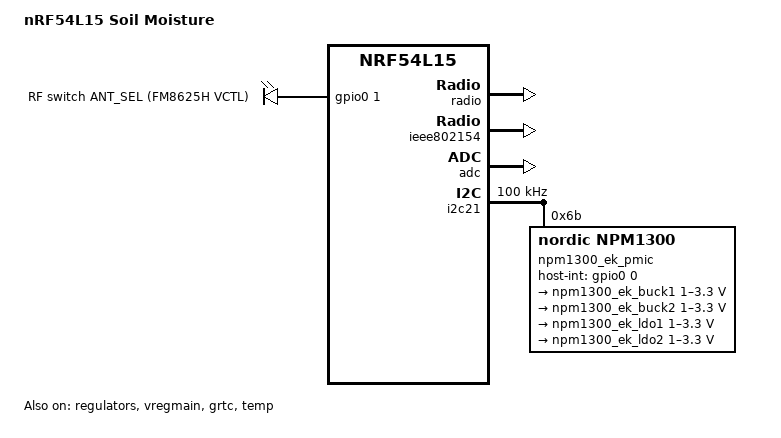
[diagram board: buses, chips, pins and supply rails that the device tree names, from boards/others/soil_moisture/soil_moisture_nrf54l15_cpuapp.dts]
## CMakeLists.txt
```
cmake_minimum_required(VERSION 3.20.0)

# Absolute BOARD_ROOT for non-sysbuild builds; sysbuild uses sysbuild/CMakeLists.txt
list(APPEND BOARD_ROOT ${CMAKE_CURRENT_SOURCE_DIR})

find_package(Zephyr REQUIRED HINTS $ENV{ZEPHYR_BASE})

project(soil_moisture_bringup)

target_sources(app PRIVATE
	src/main.c
	src/fuel_gauge.c
)
```

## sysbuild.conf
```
# Default sysbuild settings for nRF54L15 application image
```

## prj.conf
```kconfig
CONFIG_GPIO=y
CONFIG_I2C=y
CONFIG_MFD=y
CONFIG_MFD_NPM13XX=y
CONFIG_REGULATOR=y
CONFIG_REGULATOR_NPM13XX=y
CONFIG_SENSOR=y
CONFIG_NPM13XX_CHARGER=y

CONFIG_NRF_FUEL_GAUGE=y
CONFIG_NRF_FUEL_GAUGE_VARIANT_SECONDARY_CELL=y
CONFIG_REQUIRES_FLOAT_PRINTF=y
CONFIG_MAIN_STACK_SIZE=2048
CONFIG_CBPRINTF_FP_SUPPORT=y

CONFIG_LOG=y
CONFIG_USE_SEGGER_RTT=y
CONFIG_LOG_BACKEND_RTT=y
CONFIG_RTT_CONSOLE=y
CONFIG_UART_CONSOLE=n
CONFIG_CONSOLE=y
CONFIG_SERIAL=y

CONFIG_BT=n
```

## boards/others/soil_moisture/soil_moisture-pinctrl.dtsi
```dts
&pinctrl {
	/omit-if-no-ref/ i2c21_default: i2c21_default {
		group1 {
			psels = <NRF_PSEL(TWIM_SCL, 1, 3)>,
				<NRF_PSEL(TWIM_SDA, 1, 4)>;
		};
	};

	/omit-if-no-ref/ i2c21_sleep: i2c21_sleep {
		group1 {
			psels = <NRF_PSEL(TWIM_SCL, 1, 3)>,
				<NRF_PSEL(TWIM_SDA, 1, 4)>;
			low-power-enable;
		};
	};
};
```

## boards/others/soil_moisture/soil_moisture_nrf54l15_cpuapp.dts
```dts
/dts-v1/;

#include <nordic/nrf54l15_cpuapp.dtsi>
#include <dt-bindings/regulator/npm13xx.h>
#include "soil_moisture-pinctrl.dtsi"

/ {
	model = "nRF54L15 Soil Moisture";
	compatible = "others,soil-moisture-nrf54l15-cpuapp";

	chosen {
		zephyr,code-partition = &slot0_partition;
		zephyr,sram = &cpuapp_sram;
		zephyr,flash-controller = &rram_controller;
		zephyr,flash = &cpuapp_rram;
		zephyr,console = &rtt0;
		zephyr,shell-uart = &rtt0;
		zephyr,bt-mon-uart = &rtt0;
		zephyr,bt-c2h-uart = &rtt0;
		zephyr,ieee802154 = &ieee802154;
	};

	aliases {
		ant-sel = &ant_sel;
		watchdog0 = &wdt31;
	};

	antennas {
		compatible = "gpio-leds";

		ant_sel: ant_sel {
			gpios = <&gpio0 1 GPIO_ACTIVE_HIGH>;
			label = "RF switch ANT_SEL (FM8625H VCTL)";
		};
	};

	rtt0: rtt_uart0 {
		compatible = "segger,rtt-uart";
		status = "okay";
	};
};

#include <vendor/nordic/nrf54l15_cpuapp_partition.dtsi>

&cpuapp_sram {
	status = "okay";
};

&lfxo {
	load-capacitors = "internal";
	load-capacitance-femtofarad = <17000>;
};

&hfxo {
	load-capacitors = "internal";
	load-capacitance-femtofarad = <15000>;
};

&regulators {
	status = "okay";
};

&vregmain {
	status = "okay";
	regulator-initial-mode = <NRF5X_REG_MODE_DCDC>;
};

&grtc {
	owned-channels = <0 1 2 3 4 5 6 7 8 9 10 11>;
	child-owned-channels = <3 4 7 8 9 10 11>;
	status = "okay";
};

&gpio0 {
	status = "okay";
};

&gpio1 {
	status = "okay";
};

&gpio2 {
	status = "okay";
};

&gpiote20 {
	status = "okay";
};

&gpiote30 {
	status = "okay";
};

&radio {
	status = "okay";
};

&ieee802154 {
	status = "okay";
};

&temp {
	status = "okay";
};

&clock {
	status = "okay";
};

&adc {
	status = "okay";
};

&uart20 {
	status = "disabled";
};

&uart30 {
	status = "disabled";
};

&i2c21 {
	compatible = "nordic,nrf-twim";
	status = "okay";
	clock-frequency = <I2C_BITRATE_STANDARD>;
	pinctrl-0 = <&i2c21_default>;
	pinctrl-1 = <&i2c21_sleep>;
	pinctrl-names = "default", "sleep";

	npm1300_ek_pmic: pmic@6b {
		compatible = "nordic,npm1300";
		reg = <0x6b>;
		host-int-gpios = <&gpio0 0 GPIO_ACTIVE_HIGH>;
		pmic-int-pin = <1>;

		npm1300_ek_gpio: gpio-controller {
			compatible = "nordic,npm1300-gpio";
			gpio-controller;
			#gpio-cells = <2>;
			ngpios = <5>;
		};

		npm1300_ek_regulators: regulators {
			compatible = "nordic,npm1300-regulator";

			npm1300_ek_buck1: BUCK1 {
				regulator-min-microvolt = <1000000>;
				regulator-max-microvolt = <3300000>;
				regulator-init-microvolt = <1800000>;
			};

			npm1300_ek_buck2: BUCK2 {
				regulator-min-microvolt = <1000000>;
				regulator-max-microvolt = <3300000>;
				regulator-init-microvolt = <3000000>;
				regulator-always-on;
			};

			npm1300_ek_ldo1: LDO1 {
				regulator-min-microvolt = <1000000>;
				regulator-max-microvolt = <3300000>;
				status = "disabled";
			};

			npm1300_ek_ldo2: LDO2 {
				regulator-min-microvolt = <1000000>;
				regulator-max-microvolt = <3300000>;
				status = "disabled";
			};
		};

		npm1300_ek_charger: charger {
			compatible = "nordic,npm1300-charger";
			term-microvolt = <4150000>;
			term-warm-microvolt = <4000000>;
			current-microamp = <150000>;
			dischg-limit-microamp = <1000000>;
			vbus-limit-microamp = <500000>;
			thermistor-ohms = <10000>;
			thermistor-beta = <3380>;
			charging-enable;
		};

		npm1300_ek_leds: leds {
			compatible = "nordic,npm1300-led";
			nordic,led0-mode = "error";
			nordic,led1-mode = "charging";
			nordic,led2-mode = "host";
		};
	};
};
```

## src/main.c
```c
#include <zephyr/kernel.h>
#include <zephyr/device.h>
#include <zephyr/drivers/gpio.h>
#include <zephyr/drivers/mfd/npm13xx.h>
#include <zephyr/drivers/sensor.h>
#include <zephyr/logging/log.h>

#include "fuel_gauge.h"

LOG_MODULE_REGISTER(main, LOG_LEVEL_INF);

#define SLEEP_TIME_MS 1000

#define NPM13XX_DEVICE(dev) DEVICE_DT_GET(DT_NODELABEL(npm1300_ek_ ## dev))

static const struct device *pmic = NPM13XX_DEVICE(pmic);
static const struct device *charger = NPM13XX_DEVICE(charger);
static const struct gpio_dt_spec ant_sel = GPIO_DT_SPEC_GET(DT_ALIAS(ant_sel), gpios);

static volatile bool vbus_connected;

static void event_callback(const struct device *dev, struct gpio_callback *cb, uint32_t pins)
{
	ARG_UNUSED(dev);
	ARG_UNUSED(cb);

	if (pins & BIT(NPM13XX_EVENT_VBUS_DETECTED)) {
		LOG_INF("VBUS connected (USB or solar input)");
		vbus_connected = true;
	}

	if (pins & BIT(NPM13XX_EVENT_VBUS_REMOVED)) {
		LOG_INF("VBUS removed");
		vbus_connected = false;
	}
}

static int ant_sel_init(void)
{
	int err;

	if (!gpio_is_ready_dt(&ant_sel)) {
		LOG_ERR("ANT_SEL GPIO not ready");
		return -ENODEV;
	}

	/* Drive low to select onboard chip antenna (RF1 path). Invert if needed. */
	err = gpio_pin_configure_dt(&ant_sel, GPIO_OUTPUT_INACTIVE);
	if (err) {
		LOG_ERR("Failed to configure ANT_SEL (%d)", err);
		return err;
	}

	LOG_INF("ANT_SEL set for onboard antenna (P0.01 inactive)");
	return 0;
}

int main(void)
{
	int err;
	struct sensor_value val;
	static struct gpio_callback event_cb;

	LOG_INF("nRF54L15 soil moisture bring-up");

	err = ant_sel_init();
	if (err) {
		return 0;
	}

	if (!device_is_ready(pmic)) {
		LOG_ERR("PMIC device not ready");
		return 0;
	}

	if (!device_is_ready(charger)) {
		LOG_ERR("Charger device not ready");
		return 0;
	}

	if (fuel_gauge_init(charger) < 0) {
		LOG_ERR("Could not initialise fuel gauge");
		return 0;
	}

	gpio_init_callback(&event_cb, event_callback,
			   BIT(NPM13XX_EVENT_VBUS_DETECTED) | BIT(NPM13XX_EVENT_VBUS_REMOVED));

	err = mfd_npm13xx_add_callback(pmic, &event_cb);
	if (err) {
		LOG_ERR("Failed to add PMIC callback (%d)", err);
		return 0;
	}

	err = sensor_attr_get(charger, SENSOR_CHAN_CURRENT, SENSOR_ATTR_UPPER_THRESH, &val);
	if (err < 0) {
		LOG_WRN("Could not read initial VBUS threshold status (%d)", err);
		vbus_connected = false;
	} else {
		vbus_connected = (val.val1 != 0) || (val.val2 != 0);
	}

	LOG_INF("PMIC ready; host-int on P0.00 / pmic-int-pin GPIO1");
	LOG_INF("Initial VBUS connected=%d", vbus_connected);

	while (1) {
		fuel_gauge_update(charger, vbus_connected);
		k_msleep(SLEEP_TIME_MS);
	}
}
```
